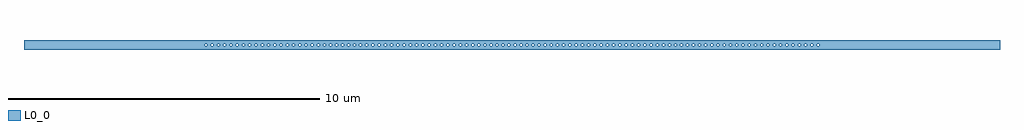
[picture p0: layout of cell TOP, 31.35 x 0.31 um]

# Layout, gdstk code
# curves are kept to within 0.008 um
import gdstk
lib = gdstk.Library(unit=1e-6, precision=1e-09)
def P(c, l, *ps):  # polygons
    for p in ps: c.add(gdstk.Polygon(p, *l))
L0_0 = (0, 0)

top = lib.new_cell('TOP')
P(top, L0_0, [(-8.052,0.03),(-8.006,0.04),(-7.979,0),(-7.979,0.157),(-15.675,0.157),(-15.675,0),(-9.874,0),(-9.861,0.03),(-9.831,0.043),(-9.801,0.03),(-9.788,0),(-9.673,0),(-9.66,0.03),(-9.63,0.043),(-9.6,0.03),(-9.587,0),(-9.472,0),(-9.459,0.03),(-9.429,0.043),(-9.399,0.03),(-9.386,0),(-9.271,0),(-9.258,0.03),(-9.228,0.043),(-9.198,0.03),(-9.185,0),(-9.07,0),(-9.057,0.03),(-9.027,0.043),(-8.997,0.03),(-8.984,0),(-8.869,0),(-8.856,0.03),(-8.826,0.043),(-8.796,0.03),(-8.783,0),(-8.668,0),(-8.655,0.03),(-8.625,0.043),(-8.595,0.03),(-8.582,0),(-8.467,0),(-8.454,0.03),(-8.424,0.043),(-8.394,0.03),(-8.381,0),(-8.266,0),(-8.253,0.03),(-8.223,0.043),(-8.193,0.03),(-8.18,0),(-8.193,-0.03),(-8.223,-0.043),(-8.253,-0.03),(-8.266,0),(-8.381,0),(-8.394,-0.03),(-8.424,-0.043),(-8.454,-0.03),(-8.467,0),(-8.582,0),(-8.595,-0.03),(-8.625,-0.043),(-8.655,-0.03),(-8.668,0),(-8.783,0),(-8.796,-0.03),(-8.826,-0.043),(-8.856,-0.03),(-8.869,0),(-8.984,0),(-8.997,-0.03),(-9.027,-0.043),(-9.057,-0.03),(-9.07,0),(-9.185,0),(-9.198,-0.03),(-9.228,-0.043),(-9.258,-0.03),(-9.271,0),(-9.386,0),(-9.399,-0.03),(-9.429,-0.043),(-9.459,-0.03),(-9.472,0),(-9.587,0),(-9.6,-0.03),(-9.63,-0.043),(-9.66,-0.03),(-9.673,0),(-9.788,0),(-9.801,-0.03),(-9.831,-0.043),(-9.861,-0.03),(-9.874,0),(-15.675,0),(-15.675,-0.157),(-7.979,-0.157),(-7.979,0),(-8.006,-0.04),(-8.038,-0.04),(-8.062,-0.016)],
  [(-6.052,0.03),(-6.005,0.04),(-5.979,0),(-5.979,0.157),(-7.979,0.157),(-7.979,0),(-7.864,0),(-7.851,0.03),(-7.821,0.043),(-7.791,0.03),(-7.778,0),(-7.663,0),(-7.65,0.03),(-7.62,0.043),(-7.59,0.03),(-7.577,0),(-7.462,0),(-7.45,0.03),(-7.42,0.043),(-7.389,0.03),(-7.377,0),(-7.261,0),(-7.249,0.03),(-7.219,0.043),(-7.188,0.03),(-7.176,0),(-7.06,0),(-7.048,0.03),(-7.018,0.043),(-6.987,0.03),(-6.975,0),(-6.859,0),(-6.847,0.03),(-6.817,0.043),(-6.786,0.03),(-6.774,0),(-6.659,0),(-6.647,0.03),(-6.617,0.043),(-6.586,0.03),(-6.574,0),(-6.46,0),(-6.448,0.03),(-6.418,0.043),(-6.387,0.03),(-6.375,0),(-6.261,0),(-6.235,0.04),(-6.202,0.04),(-6.176,0),(-6.188,-0.03),(-6.219,-0.043),(-6.249,-0.03),(-6.261,0),(-6.375,0),(-6.387,-0.03),(-6.418,-0.043),(-6.448,-0.03),(-6.46,0),(-6.574,0),(-6.586,-0.03),(-6.617,-0.043),(-6.647,-0.03),(-6.659,0),(-6.774,0),(-6.786,-0.03),(-6.817,-0.043),(-6.847,-0.03),(-6.859,0),(-6.975,0),(-6.987,-0.03),(-7.018,-0.043),(-7.048,-0.03),(-7.06,0),(-7.176,0),(-7.188,-0.03),(-7.219,-0.043),(-7.249,-0.03),(-7.261,0),(-7.377,0),(-7.389,-0.03),(-7.42,-0.043),(-7.45,-0.03),(-7.462,0),(-7.577,0),(-7.59,-0.03),(-7.62,-0.043),(-7.65,-0.03),(-7.663,0),(-7.778,0),(-7.791,-0.03),(-7.821,-0.043),(-7.851,-0.03),(-7.864,0),(-7.979,0),(-7.979,-0.157),(-5.979,-0.157),(-5.979,0),(-6.005,-0.04),(-6.038,-0.04),(-6.061,-0.016)],
  [(-4.098,0.03),(-4.051,0.04),(-4.025,0),(-4.025,0.157),(-5.979,0.157),(-5.979,0),(-5.869,0),(-5.857,0.03),(-5.827,0.043),(-5.796,0.03),(-5.784,0),(-5.675,0),(-5.663,0.03),(-5.633,0.043),(-5.602,0.03),(-5.59,0),(-5.483,0),(-5.471,0.03),(-5.441,0.043),(-5.41,0.03),(-5.398,0),(-5.292,0),(-5.28,0.03),(-5.25,0.043),(-5.219,0.03),(-5.207,0),(-5.103,0),(-5.091,0.03),(-5.061,0.043),(-5.03,0.03),(-5.018,0),(-4.914,0),(-4.902,0.03),(-4.872,0.043),(-4.841,0.03),(-4.829,0),(-4.713,0),(-4.701,0.03),(-4.671,0.043),(-4.64,0.03),(-4.628,0),(-4.512,0),(-4.5,0.03),(-4.47,0.043),(-4.439,0.03),(-4.427,0),(-4.311,0),(-4.299,0.03),(-4.269,0.043),(-4.238,0.03),(-4.226,0),(-4.238,-0.03),(-4.269,-0.043),(-4.299,-0.03),(-4.311,0),(-4.427,0),(-4.439,-0.03),(-4.47,-0.043),(-4.5,-0.03),(-4.512,0),(-4.628,0),(-4.64,-0.03),(-4.671,-0.043),(-4.701,-0.03),(-4.713,0),(-4.829,0),(-4.841,-0.03),(-4.872,-0.043),(-4.902,-0.03),(-4.914,0),(-5.018,0),(-5.03,-0.03),(-5.061,-0.043),(-5.091,-0.03),(-5.103,0),(-5.207,0),(-5.219,-0.03),(-5.25,-0.043),(-5.28,-0.03),(-5.292,0),(-5.398,0),(-5.41,-0.03),(-5.441,-0.043),(-5.471,-0.03),(-5.483,0),(-5.59,0),(-5.602,-0.03),(-5.633,-0.043),(-5.663,-0.03),(-5.675,0),(-5.784,0),(-5.796,-0.03),(-5.827,-0.043),(-5.857,-0.03),(-5.869,0),(-5.979,0),(-5.979,-0.157),(-4.025,-0.157),(-4.025,0),(-4.051,-0.04),(-4.084,-0.04),(-4.107,-0.016)],
  [(-2.088,0.03),(-2.042,0.04),(-2.015,0),(-2.015,0.157),(-4.025,0.157),(-4.025,0),(-3.909,0),(-3.897,0.03),(-3.867,0.043),(-3.836,0.03),(-3.824,0),(-3.708,0),(-3.696,0.03),(-3.666,0.043),(-3.635,0.03),(-3.623,0),(-3.507,0),(-3.495,0.03),(-3.465,0.043),(-3.434,0.03),(-3.422,0),(-3.306,0),(-3.294,0.03),(-3.264,0.043),(-3.233,0.03),(-3.221,0),(-3.105,0),(-3.093,0.03),(-3.063,0.043),(-3.032,0.03),(-3.02,0),(-2.904,0),(-2.892,0.03),(-2.862,0.043),(-2.831,0.03),(-2.819,0),(-2.703,0),(-2.691,0.03),(-2.661,0.043),(-2.63,0.03),(-2.618,0),(-2.502,0),(-2.49,0.03),(-2.46,0.043),(-2.429,0.03),(-2.417,0),(-2.301,0),(-2.289,0.03),(-2.259,0.043),(-2.228,0.03),(-2.216,0),(-2.228,-0.03),(-2.259,-0.043),(-2.289,-0.03),(-2.301,0),(-2.417,0),(-2.429,-0.03),(-2.46,-0.043),(-2.49,-0.03),(-2.502,0),(-2.618,0),(-2.63,-0.03),(-2.661,-0.043),(-2.691,-0.03),(-2.703,0),(-2.819,0),(-2.831,-0.03),(-2.862,-0.043),(-2.892,-0.03),(-2.904,0),(-3.02,0),(-3.032,-0.03),(-3.063,-0.043),(-3.093,-0.03),(-3.105,0),(-3.221,0),(-3.233,-0.03),(-3.264,-0.043),(-3.294,-0.03),(-3.306,0),(-3.422,0),(-3.434,-0.03),(-3.465,-0.043),(-3.495,-0.03),(-3.507,0),(-3.623,0),(-3.635,-0.03),(-3.666,-0.043),(-3.696,-0.03),(-3.708,0),(-3.824,0),(-3.836,-0.03),(-3.867,-0.043),(-3.897,-0.03),(-3.909,0),(-4.025,0),(-4.025,-0.157),(-2.015,-0.157),(-2.015,0),(-2.042,-0.04),(-2.074,-0.04),(-2.098,-0.016)],
  [(-1.827,-0.03),(-1.874,-0.04),(-1.9,0),(-2.015,0),(-2.015,-0.157),(-0.058,-0.157),(-0.058,0),(-0.071,-0.03),(-0.101,-0.043),(-0.131,-0.03),(-0.144,0),(-0.131,0.03),(-0.101,0.043),(-0.071,0.03),(-0.058,0),(-0.058,0.157),(-2.015,0.157),(-2.015,0),(-1.9,0),(-1.888,0.03),(-1.858,0.043),(-1.827,0.03),(-1.815,0),(-1.7,0),(-1.688,0.03),(-1.658,0.043),(-1.627,0.03),(-1.615,0),(-1.5,0),(-1.488,0.03),(-1.458,0.043),(-1.427,0.03),(-1.415,0),(-1.302,0),(-1.29,0.03),(-1.26,0.043),(-1.229,0.03),(-1.217,0),(-1.105,0),(-1.093,0.03),(-1.063,0.043),(-1.032,0.03),(-1.02,0),(-0.909,0),(-0.897,0.03),(-0.867,0.043),(-0.836,0.03),(-0.824,0),(-0.715,0),(-0.703,0.03),(-0.673,0.043),(-0.642,0.03),(-0.63,0),(-0.523,0),(-0.511,0.03),(-0.481,0.043),(-0.45,0.03),(-0.438,0),(-0.333,0),(-0.321,0.03),(-0.291,0.043),(-0.26,0.03),(-0.251,-0.016),(-0.291,-0.043),(-0.321,-0.03),(-0.333,0),(-0.438,0),(-0.45,-0.03),(-0.481,-0.043),(-0.511,-0.03),(-0.523,0),(-0.63,0),(-0.642,-0.03),(-0.673,-0.043),(-0.703,-0.03),(-0.715,0),(-0.824,0),(-0.836,-0.03),(-0.867,-0.043),(-0.897,-0.03),(-0.909,0),(-1.02,0),(-1.032,-0.03),(-1.063,-0.043),(-1.093,-0.03),(-1.105,0),(-1.217,0),(-1.229,-0.03),(-1.26,-0.043),(-1.29,-0.03),(-1.302,0),(-1.415,0),(-1.427,-0.03),(-1.458,-0.043),(-1.488,-0.03),(-1.5,0),(-1.615,0),(-1.627,-0.03),(-1.658,-0.043),(-1.688,-0.03),(-1.7,0),(-1.815,0)],
  [(1.828,0.03),(1.875,0.04),(1.901,0),(1.901,0.157),(-0.058,0.157),(-0.058,0),(0.059,0),(0.072,0.03),(0.102,0.043),(0.132,0.03),(0.145,0),(0.249,0),(0.261,0.03),(0.292,0.043),(0.322,0.03),(0.334,0),(0.439,0),(0.451,0.03),(0.482,0.043),(0.512,0.03),(0.524,0),(0.631,0),(0.643,0.03),(0.674,0.043),(0.704,0.03),(0.716,0),(0.825,0),(0.837,0.03),(0.868,0.043),(0.898,0.03),(0.91,0),(1.021,0),(1.033,0.03),(1.064,0.043),(1.094,0.03),(1.106,0),(1.218,0),(1.23,0.03),(1.261,0.043),(1.291,0.03),(1.303,0),(1.416,0),(1.428,0.03),(1.459,0.043),(1.489,0.03),(1.501,0),(1.616,0),(1.628,0.03),(1.659,0.043),(1.689,0.03),(1.701,0),(1.689,-0.03),(1.659,-0.043),(1.628,-0.03),(1.616,0),(1.501,0),(1.489,-0.03),(1.459,-0.043),(1.428,-0.03),(1.416,0),(1.303,0),(1.291,-0.03),(1.261,-0.043),(1.23,-0.03),(1.218,0),(1.106,0),(1.094,-0.03),(1.064,-0.043),(1.033,-0.03),(1.021,0),(0.91,0),(0.898,-0.03),(0.868,-0.043),(0.837,-0.03),(0.825,0),(0.716,0),(0.704,-0.03),(0.674,-0.043),(0.643,-0.03),(0.631,0),(0.524,0),(0.512,-0.03),(0.482,-0.043),(0.451,-0.03),(0.439,0),(0.334,0),(0.322,-0.03),(0.292,-0.043),(0.261,-0.03),(0.249,0),(0.145,0),(0.132,-0.03),(0.102,-0.043),(0.072,-0.03),(0.059,0),(-0.058,0),(-0.058,-0.157),(1.901,-0.157),(1.901,0),(1.875,-0.04),(1.842,-0.04),(1.819,-0.016)],
  [(3.837,0.03),(3.884,0.04),(3.91,0),(3.91,0.157),(1.901,0.157),(1.901,0),(2.016,0),(2.028,0.03),(2.059,0.043),(2.089,0.03),(2.101,0),(2.217,0),(2.229,0.03),(2.26,0.043),(2.29,0.03),(2.302,0),(2.418,0),(2.43,0.03),(2.461,0.043),(2.491,0.03),(2.503,0),(2.619,0),(2.631,0.03),(2.662,0.043),(2.692,0.03),(2.704,0),(2.82,0),(2.832,0.03),(2.863,0.043),(2.893,0.03),(2.905,0),(3.021,0),(3.033,0.03),(3.064,0.043),(3.094,0.03),(3.106,0),(3.222,0),(3.234,0.03),(3.265,0.043),(3.295,0.03),(3.307,0),(3.423,0),(3.435,0.03),(3.466,0.043),(3.496,0.03),(3.508,0),(3.624,0),(3.636,0.03),(3.667,0.043),(3.697,0.03),(3.709,0),(3.697,-0.03),(3.667,-0.043),(3.636,-0.03),(3.624,0),(3.508,0),(3.496,-0.03),(3.466,-0.043),(3.435,-0.03),(3.423,0),(3.307,0),(3.295,-0.03),(3.265,-0.043),(3.234,-0.03),(3.222,0),(3.106,0),(3.094,-0.03),(3.064,-0.043),(3.033,-0.03),(3.021,0),(2.905,0),(2.893,-0.03),(2.863,-0.043),(2.832,-0.03),(2.82,0),(2.704,0),(2.692,-0.03),(2.662,-0.043),(2.631,-0.03),(2.619,0),(2.503,0),(2.491,-0.03),(2.461,-0.043),(2.43,-0.03),(2.418,0),(2.302,0),(2.29,-0.03),(2.26,-0.043),(2.229,-0.03),(2.217,0),(2.101,0),(2.089,-0.03),(2.059,-0.043),(2.028,-0.03),(2.016,0),(1.901,0),(1.901,-0.157),(3.91,-0.157),(3.91,0),(3.884,-0.04),(3.851,-0.04),(3.828,-0.016)],
  [(5.797,0.03),(5.843,0.04),(5.87,0),(5.87,0.157),(3.91,0.157),(3.91,0),(4.026,0),(4.038,0.03),(4.069,0.043),(4.099,0.03),(4.111,0),(4.227,0),(4.239,0.03),(4.27,0.043),(4.3,0.03),(4.312,0),(4.428,0),(4.44,0.03),(4.471,0.043),(4.501,0.03),(4.513,0),(4.629,0),(4.641,0.03),(4.672,0.043),(4.702,0.03),(4.714,0),(4.83,0),(4.842,0.03),(4.873,0.043),(4.903,0.03),(4.915,0),(5.019,0),(5.031,0.03),(5.062,0.043),(5.092,0.03),(5.104,0),(5.208,0),(5.22,0.03),(5.251,0.043),(5.281,0.03),(5.293,0),(5.399,0),(5.411,0.03),(5.442,0.043),(5.472,0.03),(5.484,0),(5.591,0),(5.603,0.03),(5.634,0.043),(5.664,0.03),(5.676,0),(5.664,-0.03),(5.634,-0.043),(5.603,-0.03),(5.591,0),(5.484,0),(5.472,-0.03),(5.442,-0.043),(5.411,-0.03),(5.399,0),(5.293,0),(5.281,-0.03),(5.251,-0.043),(5.22,-0.03),(5.208,0),(5.104,0),(5.092,-0.03),(5.062,-0.043),(5.031,-0.03),(5.019,0),(4.915,0),(4.903,-0.03),(4.873,-0.043),(4.842,-0.03),(4.83,0),(4.714,0),(4.702,-0.03),(4.672,-0.043),(4.641,-0.03),(4.629,0),(4.513,0),(4.501,-0.03),(4.471,-0.043),(4.44,-0.03),(4.428,0),(4.312,0),(4.3,-0.03),(4.27,-0.043),(4.239,-0.03),(4.227,0),(4.111,0),(4.099,-0.03),(4.069,-0.043),(4.038,-0.03),(4.026,0),(3.91,0),(3.91,-0.157),(5.87,-0.157),(5.87,0),(5.843,-0.04),(5.811,-0.04),(5.787,-0.016)],
  [(7.791,0.03),(7.838,0.04),(7.864,0),(7.864,0.157),(5.87,0.157),(5.87,0),(5.98,0),(5.992,0.03),(6.023,0.043),(6.053,0.03),(6.065,0),(6.177,0),(6.189,0.03),(6.22,0.043),(6.25,0.03),(6.262,0),(6.376,0),(6.388,0.03),(6.419,0.043),(6.449,0.03),(6.461,0),(6.575,0),(6.587,0.03),(6.618,0.043),(6.648,0.03),(6.66,0),(6.775,0),(6.787,0.03),(6.818,0.043),(6.848,0.03),(6.86,0),(6.976,0),(6.988,0.03),(7.019,0.043),(7.049,0.03),(7.061,0),(7.177,0),(7.189,0.03),(7.22,0.043),(7.25,0.03),(7.262,0),(7.377,0),(7.39,0.03),(7.42,0.043),(7.45,0.03),(7.463,0),(7.578,0),(7.59,0.03),(7.621,0.043),(7.651,0.03),(7.663,0),(7.651,-0.03),(7.621,-0.043),(7.59,-0.03),(7.578,0),(7.463,0),(7.45,-0.03),(7.42,-0.043),(7.39,-0.03),(7.377,0),(7.262,0),(7.25,-0.03),(7.22,-0.043),(7.189,-0.03),(7.177,0),(7.061,0),(7.049,-0.03),(7.019,-0.043),(6.988,-0.03),(6.976,0),(6.86,0),(6.848,-0.03),(6.818,-0.043),(6.787,-0.03),(6.775,0),(6.66,0),(6.648,-0.03),(6.618,-0.043),(6.587,-0.03),(6.575,0),(6.461,0),(6.449,-0.03),(6.419,-0.043),(6.388,-0.03),(6.376,0),(6.262,0),(6.25,-0.03),(6.22,-0.043),(6.189,-0.03),(6.177,0),(6.065,0),(6.053,-0.03),(6.023,-0.043),(5.992,-0.03),(5.98,0),(5.87,0),(5.87,-0.157),(7.864,-0.157),(7.864,0),(7.838,-0.04),(7.805,-0.04),(7.782,-0.016)],
  [(8.053,-0.03),(8.006,-0.04),(7.98,0),(7.864,0),(7.864,-0.157),(15.675,-0.157),(15.675,0.157),(7.864,0.157),(7.864,0),(7.98,0),(7.992,0.03),(8.023,0.043),(8.053,0.03),(8.065,0),(8.181,0),(8.193,0.03),(8.224,0.043),(8.254,0.03),(8.266,0),(8.382,0),(8.394,0.03),(8.425,0.043),(8.455,0.03),(8.467,0),(8.583,0),(8.595,0.03),(8.626,0.043),(8.656,0.03),(8.668,0),(8.784,0),(8.796,0.03),(8.827,0.043),(8.857,0.03),(8.869,0),(8.985,0),(8.997,0.03),(9.028,0.043),(9.058,0.03),(9.07,0),(9.186,0),(9.198,0.03),(9.229,0.043),(9.259,0.03),(9.271,0),(9.387,0),(9.399,0.03),(9.43,0.043),(9.46,0.03),(9.472,0),(9.588,0),(9.6,0.03),(9.631,0.043),(9.661,0.03),(9.673,0),(9.789,0),(9.815,0.04),(9.862,0.03),(9.871,-0.016),(9.832,-0.043),(9.801,-0.03),(9.789,0),(9.673,0),(9.661,-0.03),(9.631,-0.043),(9.6,-0.03),(9.588,0),(9.472,0),(9.46,-0.03),(9.43,-0.043),(9.399,-0.03),(9.387,0),(9.271,0),(9.259,-0.03),(9.229,-0.043),(9.198,-0.03),(9.186,0),(9.07,0),(9.058,-0.03),(9.028,-0.043),(8.997,-0.03),(8.985,0),(8.869,0),(8.857,-0.03),(8.827,-0.043),(8.796,-0.03),(8.784,0),(8.668,0),(8.656,-0.03),(8.626,-0.043),(8.595,-0.03),(8.583,0),(8.467,0),(8.455,-0.03),(8.425,-0.043),(8.394,-0.03),(8.382,0),(8.266,0),(8.254,-0.03),(8.224,-0.043),(8.193,-0.03),(8.181,0),(8.065,0)])

lib.write_gds('TOP.gds')
